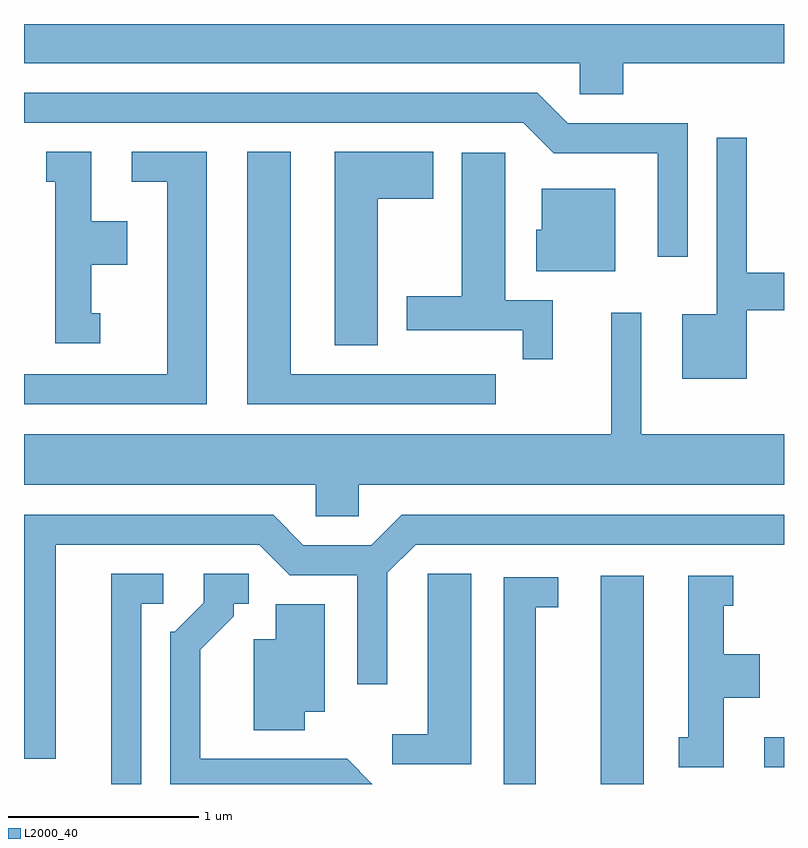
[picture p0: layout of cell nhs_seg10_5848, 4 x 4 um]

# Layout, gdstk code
import gdstk
lib = gdstk.Library(unit=1e-6, precision=1e-09)
def R(c, l, rs):  # rectangles x0, y0, x1, y1
    for r in rs: c.add(gdstk.rectangle(r[:2], r[2:], *l))
def P(c, l, *ps):  # polygons
    for p in ps: c.add(gdstk.Polygon(p, *l))
L2000_40 = (2000, 40)

nhs_seg10_5848 = lib.new_cell('nhs_seg10_5848')
R(nhs_seg10_5848, L2000_40, [(360.646,2154.522,360.874,2155.619), (361.508,2154.611,361.611,2154.769)])
P(nhs_seg10_5848, L2000_40, [(360.764,2158.316),(361.611,2158.316),(361.611,2158.522),(357.611,2158.522),(357.611,2158.316),(360.536,2158.316),(360.536,2158.151),(360.764,2158.151)],
  [(361.104,2157.999),(360.472,2157.999),(360.312,2158.159),(357.611,2158.159),(357.611,2158.001),(360.239,2158.001),(360.399,2157.841),(360.946,2157.841),(360.946,2157.298),(361.104,2157.298)],
  [(361.414,2157.016),(361.611,2157.016),(361.611,2157.214),(361.414,2157.214),(361.414,2157.923),(361.256,2157.923),(361.256,2156.994),(361.076,2156.994),(361.076,2156.656),(361.414,2156.656)],
  [(359.474,2157.601),(359.764,2157.601),(359.764,2157.849),(359.246,2157.849),(359.246,2156.831),(359.474,2156.831)],
  [(358.013,2156.999),(357.964,2156.999),(357.964,2157.256),(358.154,2157.256),(358.154,2157.484),(357.964,2157.484),(357.964,2157.849),(357.728,2157.849),(357.728,2157.691),(357.776,2157.691),(357.776,2156.841),(358.013,2156.841)],
  [(360.093,2156.679),(359.014,2156.679),(359.014,2157.849),(358.786,2157.849),(358.786,2156.521),(360.093,2156.521)],
  [(358.574,2157.849),(358.178,2157.849),(358.178,2157.691),(358.366,2157.691),(358.366,2156.679),(357.611,2156.679),(357.611,2156.521),(358.574,2156.521)],
  [(360.394,2157.069),(360.144,2157.069),(360.144,2157.844),(359.916,2157.844),(359.916,2157.089),(359.626,2157.089),(359.626,2156.911),(360.236,2156.911),(360.236,2156.758),(360.394,2156.758)],
  [(360.724,2157.654),(360.336,2157.654),(360.336,2157.439),(360.306,2157.439),(360.306,2157.221),(360.724,2157.221)],
  [(359.374,2156.096),(361.611,2156.096),(361.611,2156.364),(360.859,2156.364),(360.859,2157.003),(360.701,2157.003),(360.701,2156.364),(357.611,2156.364),(357.611,2156.096),(359.146,2156.096),(359.146,2155.931),(359.374,2155.931)],
  [(357.779,2155.781),(358.849,2155.781),(359.009,2155.621),(359.366,2155.621),(359.366,2155.048),(359.524,2155.048),(359.524,2155.634),(359.672,2155.781),(361.611,2155.781),(361.611,2155.939),(359.599,2155.939),(359.439,2155.779),(359.082,2155.779),(358.922,2155.939),(357.611,2155.939),(357.611,2154.656),(357.779,2154.656)],
  [(359.312,2154.654),(358.539,2154.654),(358.539,2155.229),(358.714,2155.404),(358.714,2155.471),(358.793,2155.471),(358.793,2155.629),(358.556,2155.629),(358.556,2155.477),(358.404,2155.324),(358.381,2155.324),(358.381,2154.522),(359.444,2154.522)],
  [(359.964,2155.629),(359.736,2155.629),(359.736,2154.784),(359.548,2154.784),(359.548,2154.626),(359.964,2154.626)],
  [(358.229,2155.471),(358.343,2155.471),(358.343,2155.629),(358.071,2155.629),(358.071,2154.522),(358.229,2154.522)],
  [(361.294,2154.976),(361.484,2154.976),(361.484,2155.204),(361.294,2155.204),(361.294,2155.461),(361.343,2155.461),(361.343,2155.619),(361.106,2155.619),(361.106,2154.769),(361.058,2154.769),(361.058,2154.611),(361.294,2154.611)],
  [(360.304,2155.451),(360.423,2155.451),(360.423,2155.609),(360.136,2155.609),(360.136,2154.522),(360.304,2154.522)],
  [(359.089,2154.901),(359.194,2154.901),(359.194,2155.469),(358.936,2155.469),(358.936,2155.284),(358.821,2155.284),(358.821,2154.806),(359.089,2154.806)])

lib.write_gds('nhs_seg10_5848.gds')
